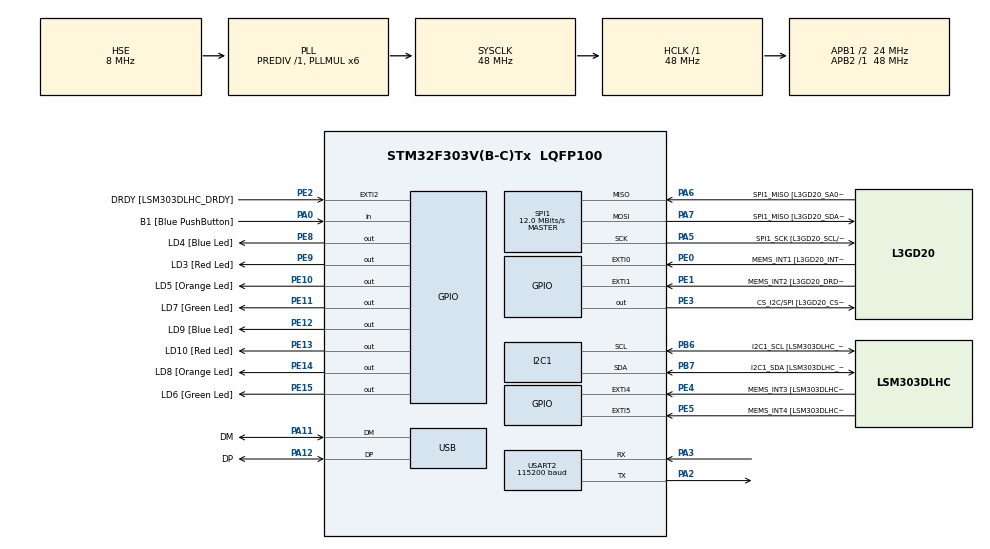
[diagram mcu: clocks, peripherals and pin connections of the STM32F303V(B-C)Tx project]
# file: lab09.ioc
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I2C1.Timing=0x00201D2B
I2C1.Timing-I2C=0x2000090E
Mcu.Family=STM32F3
Mcu.Name=STM32F303V(B-C)Tx
Mcu.Package=LQFP100
NVIC.PriorityGroup=NVIC_PRIORITYGROUP_0
PA0.GPIO_Label=B1 [Blue PushButton]
PA0.Signal=GPIO_Input
PA11.GPIO_Label=DM
PA11.Mode=Device
PA11.Signal=USB_DM
PA12.GPIO_Label=DP
PA12.Mode=Device
PA12.Signal=USB_DP
PA13.GPIO_Label=SWDIO
PA13.Mode=Serial_Wire
PA13.Signal=SYS_JTMS-SWDIO
PA14.GPIO_Label=SWCLK
PA14.Mode=Serial_Wire
PA14.Signal=SYS_JTCK-SWCLK
PA2.Mode=Asynchronous
PA2.Signal=USART2_TX
PA3.Mode=Asynchronous
PA3.Signal=USART2_RX
PA5.GPIO_Label=SPI1_SCK [L3GD20_SCL/SPC]
PA5.Mode=Full_Duplex_Master
PA5.Signal=SPI1_SCK
PA6.GPIO_Label=SPI1_MISO [L3GD20_SA0/SDO]
PA6.Mode=Full_Duplex_Master
PA6.Signal=SPI1_MISO
PA7.GPIO_Label=SPI1_MISO [L3GD20_SDA/SDI/SDO]
PA7.Mode=Full_Duplex_Master
PA7.Signal=SPI1_MOSI
PB3.GPIO_Label=SWO
PB3.Signal=SYS_JTDO-TRACESWO
PB6.GPIO_Label=I2C1_SCL [LSM303DLHC_SCL]
PB6.GPIO_Pu=GPIO_PULLUP
PB6.Mode=I2C
PB6.Signal=I2C1_SCL
PB7.GPIO_Label=I2C1_SDA [LSM303DLHC_SDA]
PB7.GPIO_Pu=GPIO_PULLUP
PB7.Mode=I2C
PB7.Signal=I2C1_SDA
PC14-OSC32_IN.GPIO_Label=OSC32_IN
PC14-OSC32_IN.Signal=RCC_OSC32_IN
PC15-OSC32_OUT.GPIO_Label=OSC32_OUT
PC15-OSC32_OUT.Signal=RCC_OSC32_OUT
PE0.GPIO_Label=MEMS_INT1 [L3GD20_INT1]
PE0.GPIO_ModeDefaultEXTI=GPIO_MODE_EVT_RISING
PE0.Signal=GPXTI0
PE1.GPIO_Label=MEMS_INT2 [L3GD20_DRDY/INT2]
PE1.GPIO_ModeDefaultEXTI=GPIO_MODE_EVT_RISING
PE1.Signal=GPXTI1
PE10.GPIO_Label=LD5 [Orange Led]
PE10.Signal=GPIO_Output
PE11.GPIO_Label=LD7 [Green Led]
PE11.Signal=GPIO_Output
PE12.GPIO_Label=LD9 [Blue Led]
PE12.Signal=GPIO_Output
PE13.GPIO_Label=LD10 [Red Led]
PE13.Signal=GPIO_Output
PE14.GPIO_Label=LD8 [Orange Led]
PE14.Signal=GPIO_Output
PE15.GPIO_Label=LD6 [Green Led]
PE15.Signal=GPIO_Output
PE2.GPIO_Label=DRDY [LSM303DLHC_DRDY]
PE2.GPIO_ModeDefaultEXTI=GPIO_MODE_EVT_RISING
PE2.Signal=GPXTI2
PE3.GPIO_Label=CS_I2C/SPI [L3GD20_CS_I2C/SPI]
PE3.Signal=GPIO_Output
PE4.GPIO_Label=MEMS_INT3 [LSM303DLHC_INT1]
PE4.GPIO_ModeDefaultEXTI=GPIO_MODE_EVT_RISING
PE4.Signal=GPXTI4
PE5.GPIO_Label=MEMS_INT4 [LSM303DLHC_INT2]
PE5.GPIO_ModeDefaultEXTI=GPIO_MODE_EVT_RISING
PE5.Signal=GPXTI5
PE8.GPIO_Label=LD4 [Blue Led]
PE8.Signal=GPIO_Output
PE9.GPIO_Label=LD3 [Red Led]
PE9.Signal=GPIO_Output
PF0-OSC_IN.GPIO_Label=OSC_IN
PF0-OSC_IN.Mode=HSE-External-Clock-Source
PF0-OSC_IN.Signal=RCC_OSC_IN
PF1-OSC_OUT.GPIO_Label=OSC_OUT
PF1-OSC_OUT.Signal=RCC_OSC_OUT
ProjectManager.HeapSize=0x200
ProjectManager.StackSize=0x400
ProjectManager.TargetToolchain=CMake
RCC.AHBFreq_Value=48000000
RCC.APB1CLKDivider=RCC_HCLK_DIV2
RCC.APB1Freq_Value=24000000
RCC.APB1TimFreq_Value=48000000
RCC.APB2Freq_Value=48000000
RCC.APB2TimFreq_Value=48000000
RCC.CortexFreq_Value=48000000
RCC.HCLKFreq_Value=48000000
RCC.HSE_VALUE=8000000
RCC.HSI_VALUE=8000000
RCC.LSE_VALUE=32768
RCC.PLLMUL=RCC_PLL_MUL6
RCC.SYSCLKFreq_VALUE=48000000
RCC.SYSCLKSourceVirtual=RCC_SYSCLKSOURCE_PLLCLK
RCC.USBFreq_Value=48000000
SPI1.BaudRatePrescaler=SPI_BAUDRATEPRESCALER_4
SPI1.BaudRatePrescaler-Full_Duplex_Master=SPI_BAUDRATEPRESCALER_2
SPI1.CalculateBaudRate=12.0 MBits/s
SPI1.CalculateBaudRate-Full_Duplex_Master=24.0 MBits/s
SPI1.Direction=SPI_DIRECTION_2LINES
SPI1.Mode=SPI_MODE_MASTER
SPI1.Mode-Full_Duplex_Master=SPI_MODE_MASTER
SPI1.VirtualType=VM_MASTER
USART2.BaudRate=115200
USART2.VirtualMode-Asynchronous=VM_ASYNC
board=STM32F3DISCOVERY

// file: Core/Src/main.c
/* USER CODE BEGIN Header */
/**
  ******************************************************************************
  * @file           : main.c
  * @brief          : Main program body
  ******************************************************************************
  * @attention
  *
  * Copyright (c) 2026 STMicroelectronics.
  * All rights reserved.
  *
  * This software is licensed under terms that can be found in the LICENSE file
  * in the root directory of this software component.
  * If no LICENSE file comes with this software, it is provided AS-IS.
  *
  ******************************************************************************
  */
/* USER CODE END Header */
#include "main.h"
#include "stm32f303xc.h"
#include "stm32f3xx_hal.h"
#include "stm32f3xx_hal_gpio.h"

/* USER CODE BEGIN Includes */
#include <stdarg.h>
#include <stdint.h>
#include <stdio.h>
#include <math.h>

/* USER CODE END Includes */

I2C_HandleTypeDef hi2c1;

SPI_HandleTypeDef hspi1;

UART_HandleTypeDef huart2;

PCD_HandleTypeDef hpcd_USB_FS;

/* USER CODE BEGIN PV */
#define LSM303AGR_ADDR 0x32
#define RAD_TO_DEG 57.2958f
#define GYRO_WHO_AM_I_REG 0x0F
#define GYRO_CTRL_REG1    0x20
#define GYRO_CTRL_REG4    0x23
#define GYRO_OUT_X_L      0x28
#define GYRO_SPI_READ     0x80
#define GYRO_SPI_MULTI    0x40

typedef struct {
    int16_t raw_x, raw_y, raw_z;
    float scaled_x, scaled_y, scaled_z;
  float offset_x, offset_y, offset_z;
} LSM303AGR_Data;

typedef struct {
    int16_t raw_x, raw_y, raw_z;
    float scaled_x, scaled_y, scaled_z;
    float offset_x, offset_y, offset_z;
} Gyro_Data;

LSM303AGR_Data acc_data = {0};
Gyro_Data gyro_data = {0};
uint8_t gyro_whoami = 0;
/* USER CODE END PV */

void SystemClock_Config(void);
static void MX_GPIO_Init(void);
static void MX_I2C1_Init(void);
static void MX_SPI1_Init(void);
static void MX_USB_PCD_Init(void);
static void MX_USART2_UART_Init(void);

/* USER CODE BEGIN 0 */
void myPrintf (const char *fmt , ...);
void Print_LSM(const LSM303AGR_Data *acc, const Gyro_Data *gyro);

static uint8_t Gyro_SPI_ReadReg(uint8_t reg)
{
  uint8_t tx[2] = {(uint8_t)(GYRO_SPI_READ | (reg & 0x3F)), 0x00};
  uint8_t rx[2] = {0};

  HAL_GPIO_WritePin(CS_I2C_SPI_GPIO_Port, CS_I2C_SPI_Pin, GPIO_PIN_RESET);
  HAL_SPI_TransmitReceive(&hspi1, tx, rx, 2, HAL_MAX_DELAY);
  HAL_GPIO_WritePin(CS_I2C_SPI_GPIO_Port, CS_I2C_SPI_Pin, GPIO_PIN_SET);

  return rx[1];
}

static void Gyro_SPI_WriteReg(uint8_t reg, uint8_t value)
{
  uint8_t tx[2] = {(uint8_t)(reg & 0x3F), value};

  HAL_GPIO_WritePin(CS_I2C_SPI_GPIO_Port, CS_I2C_SPI_Pin, GPIO_PIN_RESET);
  HAL_SPI_Transmit(&hspi1, tx, 2, HAL_MAX_DELAY);
  HAL_GPIO_WritePin(CS_I2C_SPI_GPIO_Port, CS_I2C_SPI_Pin, GPIO_PIN_SET);
}

static void Gyro_SPI_ReadMulti(uint8_t startReg, uint8_t *buffer, uint16_t len)
{
  uint8_t cmd = (uint8_t)(GYRO_SPI_READ | GYRO_SPI_MULTI | (startReg & 0x3F));

  HAL_GPIO_WritePin(CS_I2C_SPI_GPIO_Port, CS_I2C_SPI_Pin, GPIO_PIN_RESET);
  HAL_SPI_Transmit(&hspi1, &cmd, 1, HAL_MAX_DELAY);
  HAL_SPI_Receive(&hspi1, buffer, len, HAL_MAX_DELAY);
  HAL_GPIO_WritePin(CS_I2C_SPI_GPIO_Port, CS_I2C_SPI_Pin, GPIO_PIN_SET);
}

void Init_LSM(void) {
    // Initialize LSM303AGR accelerometer
    uint8_t ctrl_reg1 = 0x67;
    uint8_t ctrl_reg4 = 0x00;
    HAL_I2C_Mem_Write(&hi2c1, LSM303AGR_ADDR, 0x20, I2C_MEMADD_SIZE_8BIT, &ctrl_reg1, 1, HAL_MAX_DELAY);
    HAL_I2C_Mem_Write(&hi2c1, LSM303AGR_ADDR, 0x23, I2C_MEMADD_SIZE_8BIT, &ctrl_reg4, 1, HAL_MAX_DELAY);
}

void Init_Sensor(void) {

  uint8_t ctrl_reg1 = 0x0F; // normal mode, XYZ enabled
  uint8_t ctrl_reg4 = 0x80; // BDU enabled, +/- 250 dps

  HAL_GPIO_WritePin(CS_I2C_SPI_GPIO_Port, CS_I2C_SPI_Pin, GPIO_PIN_SET);
  HAL_Delay(5);

  Gyro_SPI_WriteReg(GYRO_CTRL_REG1, ctrl_reg1);
  Gyro_SPI_WriteReg(GYRO_CTRL_REG4, ctrl_reg4);

  gyro_whoami = Gyro_SPI_ReadReg(GYRO_WHO_AM_I_REG);
  myPrintf("GYRO WHO_AM_I (SPI): 0x%02X\r\n", gyro_whoami);
}
void Read_LSM(LSM303AGR_Data *data) {
    uint8_t raw_data[6];

    // Read high and low bytes for X, Y, Z
    HAL_I2C_Mem_Read(&hi2c1, LSM303AGR_ADDR, 0x28 | 0x80, I2C_MEMADD_SIZE_8BIT, raw_data, 6, HAL_MAX_DELAY);

    // In normal mode (10-bit), output is left-aligned in 16-bit registers, so shift by 6.
    data->raw_x = ((int16_t)((raw_data[1] << 8) | raw_data[0])) >> 6;
    data->raw_y = ((int16_t)((raw_data[3] << 8) | raw_data[2])) >> 6;
    data->raw_z = ((int16_t)((raw_data[5] << 8) | raw_data[4])) >> 6;

    // Scale to physical units (g) - multiply by 0.0039 (3.9 mg/LSB sensitivity)
    data->scaled_x = (data->raw_x * 0.0039f)-data->offset_x;
    data->scaled_y = (data->raw_y * 0.0039f)-data->offset_y;
    data->scaled_z = (data->raw_z * 0.0039f)-data->offset_z;

}

void Read_Sensor(Gyro_Data *data) {
    uint8_t raw_data[6];

  Gyro_SPI_ReadMulti(GYRO_OUT_X_L, raw_data, 6);

    // OUT_* order is LOW then HIGH byte.
    data->raw_x = (int16_t)((raw_data[1] << 8) | raw_data[0]);
    data->raw_y = (int16_t)((raw_data[3] << 8) | raw_data[2]);
    data->raw_z = (int16_t)((raw_data[5] << 8) | raw_data[4]);

    // Scale to angular velocity (deg/s) - I3G4250D at 250 dps: 8.75 mdps/LSB
    data->scaled_x = data->raw_x *0.00875 - data->offset_x;
    data->scaled_y = data->raw_y *0.00875 - data->offset_y;
    data->scaled_z = data->raw_z *0.00875 - data->offset_z;

}
void Offset_LSM(LSM303AGR_Data *data) {
  int32_t sum_x = 0, sum_y = 0, sum_z = 0;
    uint8_t raw_data[6];

    for(int i = 0; i < 20; i++) {
        // Read 6 bytes starting from OUT_X_L_A (0x28).
        // Bit 7 is set (0x80) to automatically increment the register address.
        HAL_I2C_Mem_Read(&hi2c1, LSM303AGR_ADDR, 0x28 | 0x80, I2C_MEMADD_SIZE_8BIT, raw_data, 6, HAL_MAX_DELAY);

        sum_x += ((int16_t)((raw_data[1] << 8) | raw_data[0])) >> 6;
        sum_y += ((int16_t)((raw_data[3] << 8) | raw_data[2])) >> 6;
        sum_z += ((int16_t)((raw_data[5] << 8) | raw_data[4])) >> 6;
        HAL_Delay(10);
    }

    // Calculate average and convert to g units (3.9 mg/LSB)
    data->offset_x = (sum_x / 20.0f) * 0.0039f;
    data->offset_y = (sum_y / 20.0f) * 0.0039f;
    data->offset_z = (sum_z / 20.0f) * 0.0039f;
}

void Offset_Sensor(Gyro_Data *data) {
    int32_t sum_x = 0, sum_y = 0, sum_z = 0;
    uint8_t raw_data[6];

    for(int i = 0; i < 20; i++) {
      Gyro_SPI_ReadMulti(GYRO_OUT_X_L, raw_data, 6);

        sum_x += (int16_t)((raw_data[1] << 8) | raw_data[0]);
        sum_y += (int16_t)((raw_data[3] << 8) | raw_data[2]);
        sum_z += (int16_t)((raw_data[5] << 8) | raw_data[4]);
        HAL_Delay(10);
    }

    // Calculate average offsets in deg/s
    data->offset_x = (sum_x / 20.0f) * 0.00875;
    data->offset_y = (sum_y / 20.0f) * 0.00875;
    data->offset_z = (sum_z / 20.0f) * 0.00875;
}

  void Print_LSM(const LSM303AGR_Data *acc, const Gyro_Data *gyro)
  {
    float angle_x_deg = acc->scaled_x * RAD_TO_DEG;

    myPrintf("%.3f,%.3f,%.3f\r\n",
         acc->scaled_x, gyro->scaled_x, angle_x_deg);
  }

void myPrintf (const char *fmt , ...){
      char buffer[256];
      va_list args;
      va_start (args, fmt);
      int len = vsnprintf(buffer, sizeof(buffer), fmt, args);
      va_end (args);
      HAL_UART_Transmit(&huart2, (uint8_t*)buffer, len, HAL_MAX_DELAY);
  }

/* USER CODE END 0 */

int main(void)
{

  /* MCU Configuration--------------------------------------------------------*/

  /* Reset of all peripherals, Initializes the Flash interface and the Systick. */
  HAL_Init();

  /* Configure the system clock */
  SystemClock_Config();

  /* Initialize all configured peripherals */
  MX_GPIO_Init();
  MX_I2C1_Init();
  MX_SPI1_Init();
  MX_USB_PCD_Init();
  MX_USART2_UART_Init();
  /* USER CODE BEGIN 2 */
  HAL_I2C_Init(&hi2c1);
  Init_LSM();
  Init_Sensor();
  HAL_Delay(200);

  // Calibrate sensors (call only once at startup)
  Offset_LSM(&acc_data);
  Offset_Sensor(&gyro_data);
  HAL_Delay(100);
  /* USER CODE END 2 */

  /* Infinite loop */
  /* USER CODE BEGIN WHILE */
  while (1)
  {
    Read_LSM(&acc_data);
    Read_Sensor(&gyro_data);
    Print_LSM(&acc_data, &gyro_data);
    HAL_Delay(100);
    /* USER CODE END WHILE */

  }
}

void SystemClock_Config(void)
{
  RCC_OscInitTypeDef RCC_OscInitStruct = {0};
  RCC_ClkInitTypeDef RCC_ClkInitStruct = {0};
  RCC_PeriphCLKInitTypeDef PeriphClkInit = {0};

  /** Initializes the RCC Oscillators according to the specified parameters
  * in the RCC_OscInitTypeDef structure.
  */
  RCC_OscInitStruct.OscillatorType = RCC_OSCILLATORTYPE_HSI|RCC_OSCILLATORTYPE_HSE;
  RCC_OscInitStruct.HSEState = RCC_HSE_BYPASS;
  RCC_OscInitStruct.HSEPredivValue = RCC_HSE_PREDIV_DIV1;
  RCC_OscInitStruct.HSIState = RCC_HSI_ON;
  RCC_OscInitStruct.HSICalibrationValue = RCC_HSICALIBRATION_DEFAULT;
  RCC_OscInitStruct.PLL.PLLState = RCC_PLL_ON;
  RCC_OscInitStruct.PLL.PLLSource = RCC_PLLSOURCE_HSE;
  RCC_OscInitStruct.PLL.PLLMUL = RCC_PLL_MUL6;
  if (HAL_RCC_OscConfig(&RCC_OscInitStruct) != HAL_OK)
  {
    Error_Handler();
  }

  /** Initializes the CPU, AHB and APB buses clocks
  */
  RCC_ClkInitStruct.ClockType = RCC_CLOCKTYPE_HCLK|RCC_CLOCKTYPE_SYSCLK
                              |RCC_CLOCKTYPE_PCLK1|RCC_CLOCKTYPE_PCLK2;
  RCC_ClkInitStruct.SYSCLKSource = RCC_SYSCLKSOURCE_PLLCLK;
  RCC_ClkInitStruct.AHBCLKDivider = RCC_SYSCLK_DIV1;
  RCC_ClkInitStruct.APB1CLKDivider = RCC_HCLK_DIV2;
  RCC_ClkInitStruct.APB2CLKDivider = RCC_HCLK_DIV1;

  if (HAL_RCC_ClockConfig(&RCC_ClkInitStruct, FLASH_LATENCY_1) != HAL_OK)
  {
    Error_Handler();
  }
  PeriphClkInit.PeriphClockSelection = RCC_PERIPHCLK_USB|RCC_PERIPHCLK_USART2
                              |RCC_PERIPHCLK_I2C1;
  PeriphClkInit.Usart2ClockSelection = RCC_USART2CLKSOURCE_PCLK1;
  PeriphClkInit.I2c1ClockSelection = RCC_I2C1CLKSOURCE_HSI;
  PeriphClkInit.USBClockSelection = RCC_USBCLKSOURCE_PLL;
  if (HAL_RCCEx_PeriphCLKConfig(&PeriphClkInit) != HAL_OK)
  {
    Error_Handler();
  }
}

static void MX_I2C1_Init(void)
{

  hi2c1.Instance = I2C1;
  hi2c1.Init.Timing = 0x00201D2B;
  hi2c1.Init.OwnAddress1 = 0;
  hi2c1.Init.AddressingMode = I2C_ADDRESSINGMODE_7BIT;
  hi2c1.Init.DualAddressMode = I2C_DUALADDRESS_DISABLE;
  hi2c1.Init.OwnAddress2 = 0;
  hi2c1.Init.OwnAddress2Masks = I2C_OA2_NOMASK;
  hi2c1.Init.GeneralCallMode = I2C_GENERALCALL_DISABLE;
  hi2c1.Init.NoStretchMode = I2C_NOSTRETCH_DISABLE;
  if (HAL_I2C_Init(&hi2c1) != HAL_OK)
  {
    Error_Handler();
  }

  /** Configure Analogue filter
  */
  if (HAL_I2CEx_ConfigAnalogFilter(&hi2c1, I2C_ANALOGFILTER_ENABLE) != HAL_OK)
  {
    Error_Handler();
  }

  /** Configure Digital filter
  */
  if (HAL_I2CEx_ConfigDigitalFilter(&hi2c1, 0) != HAL_OK)
  {
    Error_Handler();
  }

}

static void MX_SPI1_Init(void)
{

  /* SPI1 parameter configuration*/
  hspi1.Instance = SPI1;
  hspi1.Init.Mode = SPI_MODE_MASTER;
  hspi1.Init.Direction = SPI_DIRECTION_2LINES;
  hspi1.Init.DataSize = SPI_DATASIZE_8BIT;
  hspi1.Init.CLKPolarity = SPI_POLARITY_HIGH;
  hspi1.Init.CLKPhase = SPI_PHASE_2EDGE;
  hspi1.Init.NSS = SPI_NSS_SOFT;
  hspi1.Init.BaudRatePrescaler = SPI_BAUDRATEPRESCALER_4;
  hspi1.Init.FirstBit = SPI_FIRSTBIT_MSB;
  hspi1.Init.TIMode = SPI_TIMODE_DISABLE;
  hspi1.Init.CRCCalculation = SPI_CRCCALCULATION_DISABLE;
  hspi1.Init.CRCPolynomial = 7;
  hspi1.Init.CRCLength = SPI_CRC_LENGTH_DATASIZE;
  hspi1.Init.NSSPMode = SPI_NSS_PULSE_ENABLE;
  if (HAL_SPI_Init(&hspi1) != HAL_OK)
  {
    Error_Handler();
  }

}

static void MX_USART2_UART_Init(void)
{

  huart2.Instance = USART2;
  huart2.Init.BaudRate = 115200;
  huart2.Init.WordLength = UART_WORDLENGTH_8B;
  huart2.Init.StopBits = UART_STOPBITS_1;
  huart2.Init.Parity = UART_PARITY_NONE;
  huart2.Init.Mode = UART_MODE_TX_RX;
  huart2.Init.HwFlowCtl = UART_HWCONTROL_NONE;
  huart2.Init.OverSampling = UART_OVERSAMPLING_16;
  huart2.Init.OneBitSampling = UART_ONE_BIT_SAMPLE_DISABLE;
  huart2.AdvancedInit.AdvFeatureInit = UART_ADVFEATURE_NO_INIT;
  if (HAL_UART_Init(&huart2) != HAL_OK)
  {
    Error_Handler();
  }

}

static void MX_USB_PCD_Init(void)
{

  hpcd_USB_FS.Instance = USB;
  hpcd_USB_FS.Init.dev_endpoints = 8;
  hpcd_USB_FS.Init.speed = PCD_SPEED_FULL;
  hpcd_USB_FS.Init.phy_itface = PCD_PHY_EMBEDDED;
  hpcd_USB_FS.Init.low_power_enable = DISABLE;
  hpcd_USB_FS.Init.battery_charging_enable = DISABLE;
  if (HAL_PCD_Init(&hpcd_USB_FS) != HAL_OK)
  {
    Error_Handler();
  }

}

static void MX_GPIO_Init(void)
{
  GPIO_InitTypeDef GPIO_InitStruct = {0};

  /* GPIO Ports Clock Enable */
  __HAL_RCC_GPIOE_CLK_ENABLE();
  __HAL_RCC_GPIOC_CLK_ENABLE();
  __HAL_RCC_GPIOF_CLK_ENABLE();
  __HAL_RCC_GPIOA_CLK_ENABLE();
  __HAL_RCC_GPIOB_CLK_ENABLE();

  /*Configure GPIO pin Output Level */
  HAL_GPIO_WritePin(GPIOE, CS_I2C_SPI_Pin|LD4_Pin|LD3_Pin|LD5_Pin
                          |LD7_Pin|LD9_Pin|LD10_Pin|LD8_Pin
                          |LD6_Pin, GPIO_PIN_RESET);

  /*Configure GPIO pins : DRDY_Pin MEMS_INT3_Pin MEMS_INT4_Pin MEMS_INT1_Pin
                           MEMS_INT2_Pin */
  GPIO_InitStruct.Pin = DRDY_Pin|MEMS_INT3_Pin|MEMS_INT4_Pin|MEMS_INT1_Pin
                          |MEMS_INT2_Pin;
  GPIO_InitStruct.Mode = GPIO_MODE_EVT_RISING;
  GPIO_InitStruct.Pull = GPIO_NOPULL;
  HAL_GPIO_Init(GPIOE, &GPIO_InitStruct);

  /*Configure GPIO pins : CS_I2C_SPI_Pin LD4_Pin LD3_Pin LD5_Pin
                           LD7_Pin LD9_Pin LD10_Pin LD8_Pin
                           LD6_Pin */
  GPIO_InitStruct.Pin = CS_I2C_SPI_Pin|LD4_Pin|LD3_Pin|LD5_Pin
                          |LD7_Pin|LD9_Pin|LD10_Pin|LD8_Pin
                          |LD6_Pin;
  GPIO_InitStruct.Mode = GPIO_MODE_OUTPUT_PP;
  GPIO_InitStruct.Pull = GPIO_NOPULL;
  GPIO_InitStruct.Speed = GPIO_SPEED_FREQ_LOW;
  HAL_GPIO_Init(GPIOE, &GPIO_InitStruct);

  /*Configure GPIO pin : B1_Pin */
  GPIO_InitStruct.Pin = B1_Pin;
  GPIO_InitStruct.Mode = GPIO_MODE_INPUT;
  GPIO_InitStruct.Pull = GPIO_NOPULL;
  HAL_GPIO_Init(B1_GPIO_Port, &GPIO_InitStruct);

}

void Error_Handler(void)
{
  __disable_irq();
  while (1)
  {
  }
}
